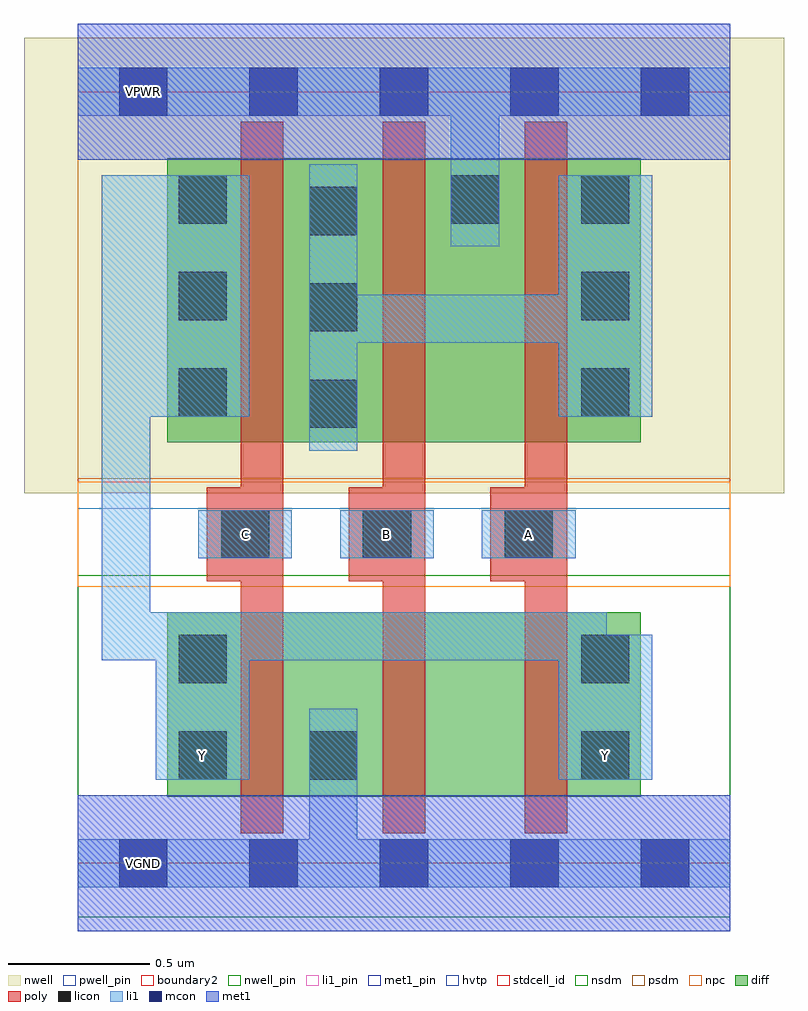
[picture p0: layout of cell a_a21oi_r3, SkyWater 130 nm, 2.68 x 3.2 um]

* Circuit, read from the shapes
.subckt a_a21oi_r3 A B C VGND VNB VPB VPWR Y
XM1 VGND C Y VNB sky130_fd_pr__nfet_01v8 w=0.65 l=0.15
XM2 n1 B VGND VNB sky130_fd_pr__nfet_01v8 w=0.65 l=0.15
XM3 Y A n1 VNB sky130_fd_pr__nfet_01v8 w=0.65 l=0.15
XM4 n2 C Y VPB sky130_fd_pr__pfet_01v8_hvt w=1 l=0.15
XM5 VPWR B n2 VPB sky130_fd_pr__pfet_01v8_hvt w=1 l=0.15
XM6 n2 A VPWR VPB sky130_fd_pr__pfet_01v8_hvt w=1 l=0.15
.ends

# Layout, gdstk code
import gdstk
lib = gdstk.Library(unit=1e-6, precision=1e-09)
def R(c, l, rs):  # rectangles x0, y0, x1, y1
    for r in rs: c.add(gdstk.rectangle(r[:2], r[2:], *l))
def A(c, l, x, y, w, h, nx, ny, dx, dy):  # array of equal rectangles
    R(c, l, [(x+i*dx, y+j*dy, x+i*dx+w, y+j*dy+h) for i in range(nx) for j in range(ny)])
nwell_pin = (64, 16)
nwell = (64, 20)
diff = (65, 20)
poly = (66, 20)
licon = (66, 44)
li1_pin = (67, 16)
li1 = (67, 20)
mcon = (67, 44)
met1_pin = (68, 16)
met1 = (68, 20)
hvtp = (78, 44)
stdcell_id = (81, 4)
nsdm = (93, 44)
psdm = (94, 20)
npc = (95, 20)
pwell_pin = (122, 16)
boundary2 = (236, 0)

a_a21oi_r3 = lib.new_cell('a_a21oi_r3')
R(a_a21oi_r3, nwell_pin, [(0.145,2.635,0.315,2.805)])
R(a_a21oi_r3, nwell, [(-0.19,1.305,2.49,2.91)])
R(a_a21oi_r3, diff, [(0.315,0.235,0.9,0.885), (0.9,0.235,1.4,0.885), (1.4,0.235,1.985,0.885), (0.315,1.485,0.9,2.485), (0.9,1.485,1.4,2.485), (1.4,1.485,1.985,2.485)])
A(a_a21oi_r3, poly, 0.575, 0.105, 0.15, 2.51, 3, 1, 0.5, 0)
A(a_a21oi_r3, poly, 0.455, 0.995, 0.27, 0.33, 3, 1, 0.5, 0)
A(a_a21oi_r3, licon, 0.505, 1.075, 0.17, 0.17, 3, 1, 0.5, 0)
A(a_a21oi_r3, licon, 0.815, 1.535, 0.17, 0.17, 1, 3, 0, 0.34)
A(a_a21oi_r3, licon, 0.355, 1.575, 0.17, 0.17, 1, 3, 0, 0.34)
A(a_a21oi_r3, licon, 1.775, 1.575, 0.17, 0.17, 1, 3, 0, 0.34)
R(a_a21oi_r3, licon, [(0.355,0.295,0.525,0.465), (0.815,0.295,0.985,0.465), (1.775,0.295,1.945,0.465), (0.355,0.635,0.525,0.805), (1.775,0.635,1.945,0.805), (1.315,2.255,1.485,2.425)])
A(a_a21oi_r3, li1_pin, 0.505, 1.075, 0.17, 0.17, 3, 1, 0.5, 0)
R(a_a21oi_r3, li1_pin, [(0.355,0.295,0.525,0.465), (1.775,0.295,1.945,0.465)])
A(a_a21oi_r3, li1, 0.425, 1.075, 0.33, 0.17, 3, 1, 0.5, 0)
R(a_a21oi_r3, li1, [(0,-0.085,2.3,0.085), (0.815,-0.085,0.985,0.545), (0.275,0.295,0.605,0.465), (0.275,0.295,0.605,0.805), (0.435,0.295,0.605,0.885), (1.695,0.295,2.025,0.465), (1.695,0.295,1.865,0.885), (1.695,0.295,2.025,0.805), (0.085,0.715,0.605,0.885), (0.085,0.715,0.255,2.425), (0.255,0.715,0.275,0.805), (0.255,0.715,0.275,0.805), (0.255,0.715,0.275,0.805), (0.255,0.715,0.275,0.805), (0.255,0.715,0.275,0.805), (0.255,0.715,0.275,0.805), (0.255,0.715,0.275,0.805), (0.255,0.715,0.275,0.805), (0.255,0.715,0.275,0.805), (0.255,0.715,0.275,0.805), (0.255,0.715,0.275,0.805), (0.255,0.715,0.275,0.805), (0.275,0.715,0.435,0.805), (0.275,0.715,0.435,0.805), (0.275,0.715,0.435,0.805), (0.275,0.715,0.435,0.805), (0.275,0.715,0.435,0.805), (0.275,0.715,0.435,0.805), (0.275,0.715,0.435,0.805), (0.275,0.715,0.435,0.805), (0.275,0.715,0.435,0.805), (0.275,0.715,0.435,0.805), (0.275,0.715,0.435,0.805), (0.275,0.715,0.435,0.805), (0.275,0.715,0.435,0.805), (0.275,0.715,0.435,0.805), (0.275,0.715,0.435,0.805), (0.275,0.715,0.435,0.805), (0.435,0.715,1.865,0.885), (0.815,1.455,0.985,2.045), (0.255,1.575,0.275,2.085), (0.255,1.575,0.275,2.085), (0.255,1.575,0.275,2.085), (0.255,1.575,0.275,2.085), (0.275,1.575,0.605,2.085), (1.695,1.575,2.025,2.085), (0.815,1.795,0.985,2.385), (0.815,1.835,0.985,2.305), (0.815,1.835,1.865,2.005), (1.695,1.835,1.865,2.425), (0.255,1.915,0.275,2.425), (0.255,1.915,0.275,2.425), (0.255,1.915,0.275,2.425), (0.255,1.915,0.275,2.425), (0.275,1.915,0.605,2.425), (1.695,1.915,2.025,2.425), (0.815,2.005,0.985,2.135), (0.815,2.005,0.985,2.135), (0.815,2.005,0.985,2.135), (0.815,2.005,0.985,2.135), (0.815,2.005,0.985,2.045), (0.815,2.005,0.985,2.045), (0.815,2.005,0.985,2.045), (0.815,2.005,0.985,2.045), (0.815,2.005,0.985,2.045), (0.815,2.005,0.985,2.045), (0.815,2.005,0.985,2.045), (0.815,2.045,0.985,2.135), (0.815,2.045,0.985,2.135), (0.815,2.045,0.985,2.135), (0.815,2.045,0.985,2.135), (0.815,2.045,0.985,2.135), (0.815,2.045,0.985,2.135), (0.815,2.045,0.985,2.135), (0.815,2.045,0.985,2.135), (0.815,2.135,0.985,2.465), (1.315,2.175,1.485,2.805), (0.085,2.255,0.445,2.425), (0.255,2.255,0.275,2.425), (0.255,2.255,0.275,2.425), (0.255,2.255,0.275,2.425), (0.255,2.255,0.275,2.425), (0.275,2.255,0.605,2.425), (1.695,2.255,2.025,2.425), (0,2.635,2.3,2.805)])
A(a_a21oi_r3, mcon, 0.145, -0.085, 0.17, 0.17, 5, 2, 0.46, 2.72)
R(a_a21oi_r3, met1_pin, [(0.145,-0.085,0.315,0.085), (0.145,2.635,0.315,2.805)])
R(a_a21oi_r3, met1, [(0,-0.24,2.3,0.24), (0,2.48,2.3,2.96)])
R(a_a21oi_r3, hvtp, [(0,1.25,2.3,2.72)])
R(a_a21oi_r3, stdcell_id, [(0,0,2.3,2.72)])
R(a_a21oi_r3, nsdm, [(0,-0.19,2.3,1.015)])
R(a_a21oi_r3, psdm, [(0,1.355,2.3,2.91)])
R(a_a21oi_r3, npc, [(0,0.975,2.3,1.345)])
R(a_a21oi_r3, pwell_pin, [(0.145,-0.085,0.315,0.085)])
R(a_a21oi_r3, boundary2, [(0,0,2.3,2.72)])
a_a21oi_r3.add(gdstk.Label('A', (1.59,1.16), layer=67, texttype=5))
a_a21oi_r3.add(gdstk.Label('B', (1.09,1.16), layer=67, texttype=5))
a_a21oi_r3.add(gdstk.Label('C', (0.59,1.16), layer=67, texttype=5))
a_a21oi_r3.add(gdstk.Label('Y', (0.44,0.38), layer=67, texttype=5))
a_a21oi_r3.add(gdstk.Label('Y', (1.86,0.38), layer=67, texttype=5))
a_a21oi_r3.add(gdstk.Label('VGND', (0.23,0), layer=68, texttype=5))
a_a21oi_r3.add(gdstk.Label('VPWR', (0.23,2.72), layer=68, texttype=5))
a_a21oi_r3.add(gdstk.Label('VPB', (0.23,2.72), layer=64, texttype=5))
a_a21oi_r3.add(gdstk.Label('VNB', (0.23,0), layer=64, texttype=59))

lib.write_gds('a_a21oi_r3.gds')
